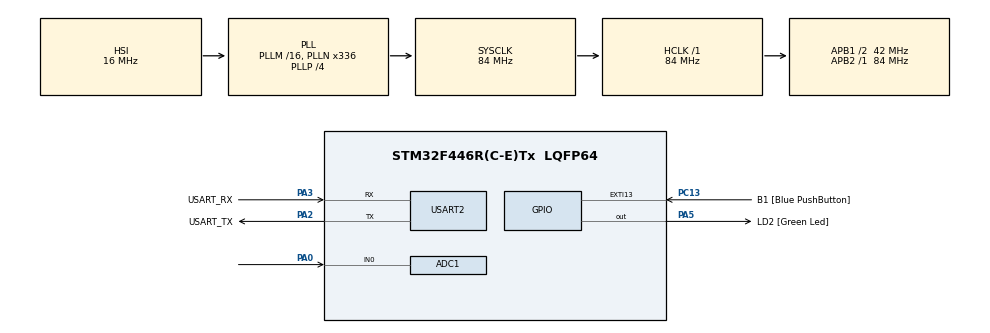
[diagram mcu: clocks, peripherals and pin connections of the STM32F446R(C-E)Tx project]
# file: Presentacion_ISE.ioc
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ADC1.Channel-0\#ChannelRegularConversion=ADC_CHANNEL_0
ADC1.NbrOfConversionFlag=1
ADC1.Rank-0\#ChannelRegularConversion=1
ADC1.SamplingTime-0\#ChannelRegularConversion=ADC_SAMPLETIME_3CYCLES
ADC1.master=1
Mcu.Family=STM32F4
Mcu.Name=STM32F446R(C-E)Tx
Mcu.Package=LQFP64
NVIC.PriorityGroup=NVIC_PRIORITYGROUP_0
PA0-WKUP.Signal=ADCx_IN0
PA13.GPIO_Label=TMS
PA13.Mode=Serial_Wire
PA13.Signal=SYS_JTMS-SWDIO
PA14.GPIO_Label=TCK
PA14.Mode=Serial_Wire
PA14.Signal=SYS_JTCK-SWCLK
PA2.GPIO_Label=USART_TX
PA2.Mode=Asynchronous
PA2.Signal=USART2_TX
PA3.GPIO_Label=USART_RX
PA3.Mode=Asynchronous
PA3.Signal=USART2_RX
PA5.GPIO_Label=LD2 [Green Led]
PA5.Signal=GPIO_Output
PB3.GPIO_Label=SWO
PB3.Signal=SYS_JTDO-SWO
PC13.GPIO_Label=B1 [Blue PushButton]
PC13.GPIO_ModeDefaultEXTI=GPIO_MODE_IT_FALLING
PC13.Signal=GPXTI13
PC14-OSC32_IN.Mode=LSE-External-Oscillator
PC14-OSC32_IN.Signal=RCC_OSC32_IN
PC15-OSC32_OUT.Mode=LSE-External-Oscillator
PC15-OSC32_OUT.Signal=RCC_OSC32_OUT
PH0-OSC_IN.Mode=HSE-External-Oscillator
PH0-OSC_IN.Signal=RCC_OSC_IN
PH1-OSC_OUT.Mode=HSE-External-Oscillator
PH1-OSC_OUT.Signal=RCC_OSC_OUT
ProjectManager.HeapSize=0x200
ProjectManager.StackSize=0x400
ProjectManager.TargetToolchain=STM32CubeIDE
RCC.48MHZClocksFreq_Value=84000000
RCC.AHBFreq_Value=84000000
RCC.APB1CLKDivider=RCC_HCLK_DIV2
RCC.APB1Freq_Value=42000000
RCC.APB1TimFreq_Value=84000000
RCC.APB2Freq_Value=84000000
RCC.APB2TimFreq_Value=84000000
RCC.CortexFreq_Value=84000000
RCC.FLatency-AdvancedSettings=FLASH_LATENCY_2
RCC.HCLKFreq_Value=84000000
RCC.HSE_VALUE=8000000
RCC.HSI_VALUE=16000000
RCC.PLLN=336
RCC.PLLP=RCC_PLLP_DIV4
RCC.SYSCLKFreq_VALUE=84000000
RCC.SYSCLKSource=RCC_SYSCLKSOURCE_PLLCLK
RCC.USBFreq_Value=168000000
RCC.VCOOutputFreq_Value=336000000
SH.ADCx_IN0.0=ADC1_IN0,IN0
USART2.VirtualMode=VM_ASYNC
board=NUCLEO-F446RE

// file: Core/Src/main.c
/* USER CODE BEGIN Header */
/**
  ******************************************************************************
  * @file           : main.c
  * @brief          : Main program body
  ******************************************************************************
  */
/* USER CODE END Header */

#include "main.h"
#include "adc.h"
#include "usart.h"
#include "gpio.h"

/* USER CODE BEGIN Includes */
#include <stdio.h>
#include <stdint.h>
/* USER CODE END Includes */

void SystemClock_Config(void);

/* USER CODE BEGIN PV */

// --- ADC ---
uint16_t adc_raw = 0;

// --- Promedio movil ---
#define N_PROMEDIO 8
uint32_t ventana[N_PROMEDIO] = {0};
uint8_t  idx_ventana = 0;
uint32_t suma_ventana = 0;
uint16_t senal_suavizada = 0;

// --- Deteccion de BPM ---
// Ajustar UMBRAL segun la señal real del KY-038.
#define UMBRAL_LATIDO 2200

uint32_t ultimo_latido_ms = 0;
uint16_t bpm = 0;
uint8_t  en_pico = 0;

// --- UART ---
char msg[32];

/* USER CODE END PV */

int main(void)
{

  HAL_Init();
  SystemClock_Config();
  MX_GPIO_Init();
  MX_ADC1_Init();
  MX_USART2_UART_Init();

  while (1)
  {
    /* USER CODE BEGIN WHILE */

    // 1. Leer ADC por polling
    HAL_ADC_Start(&hadc1);
    if (HAL_ADC_PollForConversion(&hadc1, 10) == HAL_OK)
    {
        adc_raw = (uint16_t)HAL_ADC_GetValue(&hadc1);

        // 2. Promedio movil de N_PROMEDIO muestras
        suma_ventana -= ventana[idx_ventana];
        ventana[idx_ventana] = adc_raw;
        suma_ventana += adc_raw;
        idx_ventana = (idx_ventana + 1) % N_PROMEDIO;
        senal_suavizada = (uint16_t)(suma_ventana / N_PROMEDIO);

        // 3. Deteccion de latido sobre la señal suavizada
        if (senal_suavizada > UMBRAL_LATIDO && !en_pico)
        {
            en_pico = 1;
            uint32_t ahora = HAL_GetTick();

            if (ultimo_latido_ms > 0)
            {
                uint32_t intervalo_ms = ahora - ultimo_latido_ms;

                // Filtro fisiologico: 30 BPM (2000ms) a 200 BPM (300ms)
                if (intervalo_ms >= 300 && intervalo_ms <= 2000)
                {
                    bpm = (uint16_t)(60000UL / intervalo_ms);
                }
            }
            ultimo_latido_ms = ahora;
        }
        else if (senal_suavizada < UMBRAL_LATIDO)
        {
            en_pico = 0;
        }

        // 4. Enviar señal suavizada y BPM por UART
        int len = sprintf(msg, "SEÑAL:%u BPM:%u\r\n", senal_suavizada, bpm);
        HAL_UART_Transmit(&huart2, (uint8_t*)msg, len, 100);
    }

    HAL_Delay(10);
    /* USER CODE END WHILE */

  }
}

void SystemClock_Config(void)
{
  RCC_OscInitTypeDef RCC_OscInitStruct = {0};
  RCC_ClkInitTypeDef RCC_ClkInitStruct = {0};

  __HAL_RCC_PWR_CLK_ENABLE();
  __HAL_PWR_VOLTAGESCALING_CONFIG(PWR_REGULATOR_VOLTAGE_SCALE3);

  RCC_OscInitStruct.OscillatorType = RCC_OSCILLATORTYPE_HSI;
  RCC_OscInitStruct.HSIState = RCC_HSI_ON;
  RCC_OscInitStruct.HSICalibrationValue = RCC_HSICALIBRATION_DEFAULT;
  RCC_OscInitStruct.PLL.PLLState = RCC_PLL_ON;
  RCC_OscInitStruct.PLL.PLLSource = RCC_PLLSOURCE_HSI;
  RCC_OscInitStruct.PLL.PLLM = 16;
  RCC_OscInitStruct.PLL.PLLN = 336;
  RCC_OscInitStruct.PLL.PLLP = RCC_PLLP_DIV4;
  RCC_OscInitStruct.PLL.PLLQ = 2;
  RCC_OscInitStruct.PLL.PLLR = 2;
  if (HAL_RCC_OscConfig(&RCC_OscInitStruct) != HAL_OK) { Error_Handler(); }

  RCC_ClkInitStruct.ClockType = RCC_CLOCKTYPE_HCLK | RCC_CLOCKTYPE_SYSCLK
                               | RCC_CLOCKTYPE_PCLK1 | RCC_CLOCKTYPE_PCLK2;
  RCC_ClkInitStruct.SYSCLKSource = RCC_SYSCLKSOURCE_PLLCLK;
  RCC_ClkInitStruct.AHBCLKDivider = RCC_SYSCLK_DIV1;
  RCC_ClkInitStruct.APB1CLKDivider = RCC_HCLK_DIV2;
  RCC_ClkInitStruct.APB2CLKDivider = RCC_HCLK_DIV1;
  if (HAL_RCC_ClockConfig(&RCC_ClkInitStruct, FLASH_LATENCY_2) != HAL_OK) { Error_Handler(); }
}

void Error_Handler(void)
{
  __disable_irq();
  while (1) {}
}
